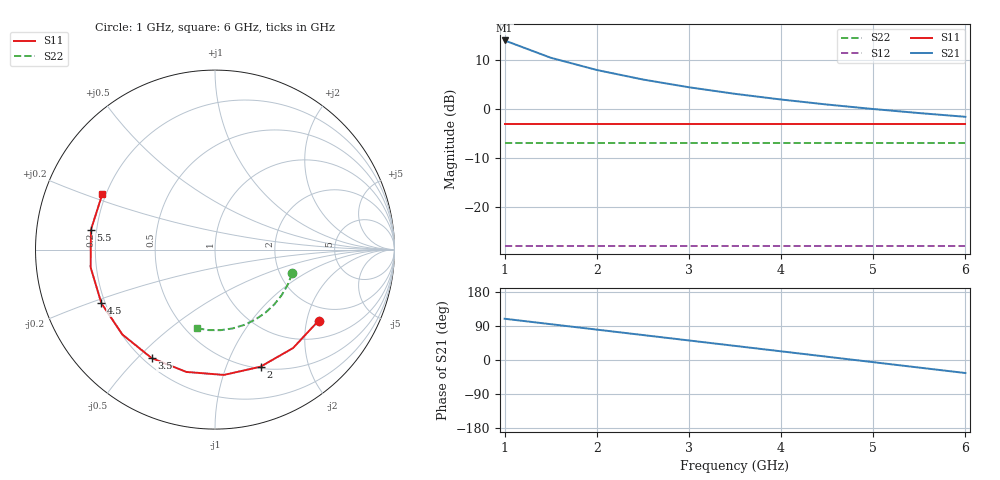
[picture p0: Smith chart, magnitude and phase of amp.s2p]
! amplifier with noise parameters
# GHz S MA R 50
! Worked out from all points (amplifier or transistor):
!   11 points, 1 GHz to 6 GHz, reference 50 ohm
!   highest |S21| = 14.0 dB at 1 GHz (marker M1)
!   |S21| within 3 dB of that: start of sweep to 1.426 GHz
!   unconditionally stable (mu >= 1): start of sweep to end of sweep
!   at 1.5 GHz: K = 1.85, MAG = 13.9 dB, |S12| = -28.0 dB
!   at 3.5 GHz: K = 3.70, MAG = 6.9 dB, |S12| = -28.0 dB
!   at 6 GHz: K = 6.00, MAG = 2.4 dB, |S12| = -28.0 dB
!   lowest NFmin = 0.62 dB at 1 GHz
!   S11 on the Smith chart (normalised r, x): 1 GHz: 1.52, -2.36; 2 GHz: 0.52, -1.33; 3.5 GHz: 0.23, -0.55; 4.5 GHz: 0.19, -0.22; 5.5 GHz: 0.18, +0.08; 6 GHz: 0.19, +0.23
1  0.7 -34.4  5 108.9  0.04 45.8  0.45 -17.2
1.5  0.7 -51.6  3.333 94.5  0.04 43.0  0.45 -25.8
2  0.7 -68.8  2.5 80.2  0.04 40.1  0.45 -34.4
2.5  0.7 -85.9  2 65.9  0.04 37.2  0.45 -43.0
3  0.7 -103.1  1.667 51.6  0.04 34.4  0.45 -51.6
3.5  0.7 -120.3  1.429 37.2  0.04 31.5  0.45 -60.2
4  0.7 -137.5  1.25 22.9  0.04 28.6  0.45 -68.8
4.5  0.7 -154.7  1.111 8.6  0.04 25.8  0.45 -77.3
5  0.7 -171.9  1 -5.7  0.04 22.9  0.45 -85.9
5.5  0.7 170.9  0.9091 -20.1  0.04 20.1  0.45 -94.5
6  0.7 153.7  0.8333 -34.4  0.04 17.2  0.45 -103.1
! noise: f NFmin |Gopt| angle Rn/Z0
1  0.62  0.55  65  0.32
2  0.74  0.5  90  0.29
3.5  0.92  0.425  127.5  0.245
5  1.1  0.35  165  0.2
